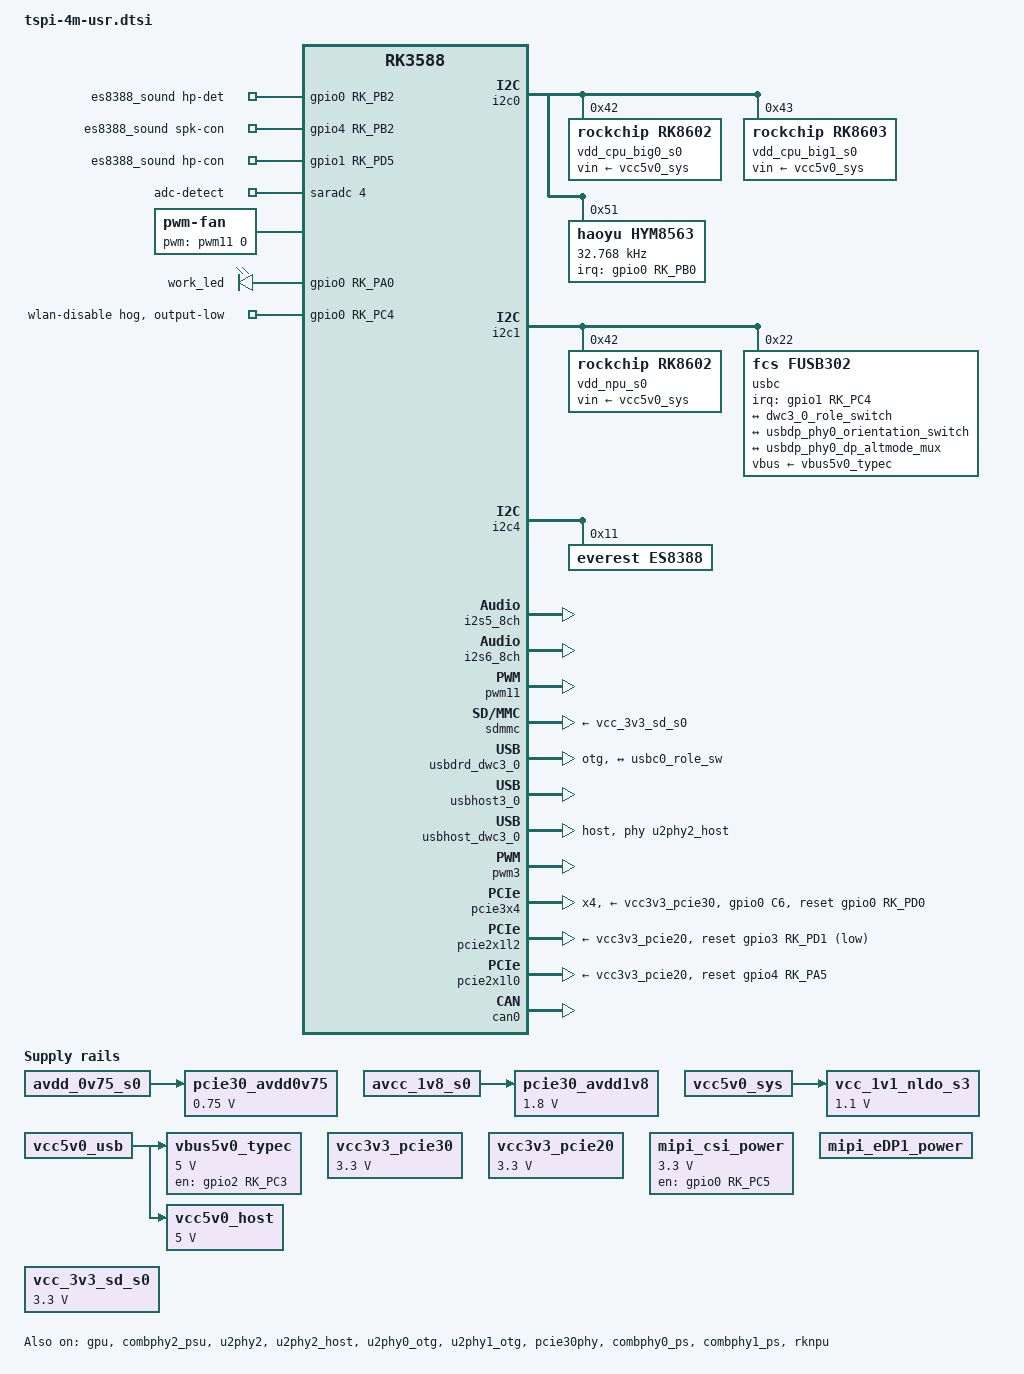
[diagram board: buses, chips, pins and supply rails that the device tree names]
// SPDX-License-Identifier: (GPL-2.0+ OR MIT)
/*
 * Copyright (c) 2022 Rockchip Electronics Co., Ltd.
 *
 */


#include "dt-bindings/usb/pd.h"
#include "rk3588.dtsi"
#include "rk3588-evb.dtsi"
#include "rk3588-rk806-single.dtsi"

&rk806single {
	pmic-reset-func = <1>;
};

// 0: Enable audio output control.
// 1: Enable CAN.
// Select one. Audio control is the default.
#define Audio_AND_CAN_Control  0 

// 0: Enable mSATA.
// 1: Enable PCIe devices, such as RTL8852BE or EC20.
// Select one. PCIe is the default.
#define Smata_AND_PCIE 1

/ {

	es8388_sound: es8388-sound {
		status = "okay";
		compatible = "rockchip,multicodecs-card";
		rockchip,card-name = "rockchip-es8388";
		hp-det-gpio = <&gpio0 RK_PB2 GPIO_ACTIVE_HIGH>;    // Headphone detection GPIO
		io-channels = <&saradc 4>;
		io-channel-names = "adc-detect";
		keyup-threshold-microvolt = <1800000>;
		poll-interval = <100>;

	#if !Audio_AND_CAN_Control
		spk-con-gpio = <&gpio4 RK_PB2 GPIO_ACTIVE_HIGH>;   // External amplifier control; shared with CAN
	#endif

		hp-con-gpio = <&gpio1 RK_PD5 GPIO_ACTIVE_HIGH>;       // EARPHONE_CTL: headphone control GPIO
		rockchip,pre-power-on-delay-ms = <30>;
		rockchip,post-power-down-delay-ms = <40>;
		rockchip,format = "i2s";
		rockchip,mclk-fs = <256>;
		rockchip,cpu = <&i2s0_8ch>;
		rockchip,codec = <&es8388>;
		rockchip,audio-routing =
			"Headphone", "LOUT1",
			"Headphone", "ROUT1",
			"Speaker", "LOUT2",
			"Speaker", "ROUT2",
			"Headphone", "Headphone Power",
			"Headphone", "Headphone Power",
			"Speaker", "Speaker Power",
			"Speaker", "Speaker Power",
			"Main Mic", "Mic Bias",
			"Headset Mic", "Mic Bias",
			"LINPUT1", "Main Mic",
			"LINPUT2", "Main Mic",
			"RINPUT1", "Headset Mic",
			"RINPUT2", "Headset Mic";
		pinctrl-names = "default";
		pinctrl-0 = <&hp_det>;
		play-pause-key {
			label = "playpause";
			linux,code = <KEY_PLAYPAUSE>;
			press-threshold-microvolt = <2000>;
		};
	};

	fan: pwm-fan {
		compatible = "pwm-fan";
		#cooling-cells = <2>;
		pwms = <&pwm11 0 50000 0>;
		cooling-levels = <
			0 50 100 120 150 170 180 200
			205 210 215 220 225 230 235 240
			245 250 251 252 253 254 255
		>;

		rockchip,temp-trips = <
			// 32000	1
			// 34000	2
			// 36000	3
			38000	8
			48000	9
			50000	10
			52000	11
			54000	12
			56000	13
			58000	14
			60000	15
			62000	16
			64000	17
			66000	18
			68000	19
			70000	20
		>;
	};


	leds: leds {
		compatible = "gpio-leds";
		work_led: work {
			gpios = <&gpio0 RK_PA0 GPIO_ACTIVE_HIGH>;
			linux,default-trigger = "heartbeat";
		};
	};


	pcie30_avdd0v75: pcie30-avdd0v75 {
		compatible = "regulator-fixed";
		regulator-name = "pcie30_avdd0v75";
		regulator-boot-on;
		regulator-always-on;
		regulator-min-microvolt = <750000>;
		regulator-max-microvolt = <750000>;
		vin-supply = <&avdd_0v75_s0>;
	};

	pcie30_avdd1v8: pcie30-avdd1v8 {
		compatible = "regulator-fixed";
		regulator-name = "pcie30_avdd1v8";
		regulator-boot-on;
		regulator-always-on;
		regulator-min-microvolt = <1800000>;
		regulator-max-microvolt = <1800000>;
		vin-supply = <&avcc_1v8_s0>;
	};


	vcc_1v1_nldo_s3: vcc-1v1-nldo-s3 {
		compatible = "regulator-fixed";
		regulator-name = "vcc_1v1_nldo_s3";
		regulator-always-on;
		regulator-boot-on;
		regulator-min-microvolt = <1100000>;
		regulator-max-microvolt = <1100000>;
		vin-supply = <&vcc5v0_sys>;
	};


	vbus5v0_typec: vbus5v0-typec {
		compatible = "regulator-fixed";
		regulator-name = "vbus5v0_typec";
		regulator-min-microvolt = <5000000>;
		regulator-max-microvolt = <5000000>;
		enable-active-high;
		gpio = <&gpio2 RK_PC3 GPIO_ACTIVE_HIGH>;
		vin-supply = <&vcc5v0_usb>;
		pinctrl-names = "default";
		pinctrl-0 = <&typec5v_pwren>;
	};


	vcc3v3_pcie30: vcc3v3-pcie30 {
		compatible = "regulator-fixed";
		regulator-name = "vcc3v3_pcie30";
		regulator-min-microvolt = <3300000>;
		regulator-max-microvolt = <3300000>;
		enable-active-high;
		startup-delay-us = <5000>;
	};

	vcc3v3_pcie20: vcc3v3-pcie20 {
		compatible = "regulator-fixed";
		regulator-name = "vcc3v3_pcie20";
		regulator-min-microvolt = <3300000>;
		regulator-max-microvolt = <3300000>;
		enable-active-high;
		startup-delay-us = <5000>;
	};

	vcc5v0_host: vcc5v0-host {
		compatible = "regulator-fixed";
		regulator-name = "vcc5v0_host";
		regulator-boot-on;
		regulator-always-on;
		regulator-min-microvolt = <5000000>;
		regulator-max-microvolt = <5000000>;
		enable-active-high;
		vin-supply = <&vcc5v0_usb>;
		pinctrl-names = "default";
	};

	mipi_csi_power: mipi-csi-power{
		compatible = "regulator-fixed";
		pinctrl-names = "default";
		regulator-name = "mipi_csi_power";
		regulator-min-microvolt = <3300000>;
		regulator-max-microvolt = <3300000>;
		regulator-always-on;
		regulator-boot-on;
		enable-active-high;
		pinctrl-0 = <&mipi_csi_pwr_en>;
		gpio = <&gpio0 RK_PC5 GPIO_ACTIVE_HIGH>;

	};

	mipi_eDP1_power: mipi-edp-power-regulator {
		compatible = "regulator-fixed";
		regulator-name = "mipi_dp1_power";
		// gpio = <&gpio1 RK_PA4 GPIO_ACTIVE_HIGH>;
		enable-active-high;
		regulator-boot-on;
		regulator-always-on;
	};


	vcc_3v3_sd_s0: vcc-3v3-sd-s0-regulator {
		compatible = "regulator-fixed";	
		pinctrl-names = "default";
		regulator-name = "vcc_3v3_sd_s0";
		regulator-min-microvolt = <3300000>;
		regulator-max-microvolt = <3300000>;
		enable-active-high;
	};
	
	rk_headset: rk-headset {          // Headset
		status = "disabled";
		compatible = "rockchip_headset";
		headset_gpio = <&gpio1 RK_PD5 GPIO_ACTIVE_LOW>;
		pinctrl-names = "default";
		pinctrl-0 = <&hp_det>;
		io-channels = <&saradc 4>;
	};
	
	wireless_bluetooth: wireless-bluetooth {
		compatible = "bluetooth-platdata";
		status = "disabled";
	};

	wireless_wlan: wireless-wlan {
		compatible = "wlan-platdata";
		wifi_chip_type = "rtl8852be";
		status = "okay";
		pinctrl-names = "default";

	};

};

&gpu {
	mali-supply = <&vdd_gpu_s0>;
	mem-supply = <&vdd_gpu_mem_s0>;
	upthreshold = <60>;
	downdifferential = <30>;
	status = "okay";
};



&i2c0 {
	status = "okay";
	pinctrl-names = "default";
	pinctrl-0 = <&i2c0m2_xfer>;

	vdd_cpu_big0_s0: vdd_cpu_big0_mem_s0: rk8602@42 {
		compatible = "rockchip,rk8602";
		reg = <0x42>;
		vin-supply = <&vcc5v0_sys>;
		regulator-compatible = "rk860x-reg";
		regulator-name = "vdd_cpu_big0_s0";
		regulator-min-microvolt = <550000>;
		regulator-max-microvolt = <1050000>;
		regulator-ramp-delay = <2300>;
		rockchip,suspend-voltage-selector = <1>;
		regulator-boot-on;
		regulator-always-on;
		regulator-state-mem {
			regulator-off-in-suspend;
		};
	};

	vdd_cpu_big1_s0: vdd_cpu_big1_mem_s0: rk8603@43 {
		compatible = "rockchip,rk8603";
		reg = <0x43>;
		vin-supply = <&vcc5v0_sys>;
		regulator-compatible = "rk860x-reg";
		regulator-name = "vdd_cpu_big1_s0";
		regulator-min-microvolt = <550000>;
		regulator-max-microvolt = <1050000>;
		regulator-ramp-delay = <2300>;
		rockchip,suspend-voltage-selector = <1>;
		regulator-boot-on;
		regulator-always-on;
		regulator-state-mem {
			regulator-off-in-suspend;
		};
	};

	hym8563: hym8563@51 {
		compatible = "haoyu,hym8563";
		reg = <0x51>;
		#clock-cells = <0>;
		clock-frequency = <32768>;
		clock-output-names = "hym8563";
		pinctrl-names = "default";
		pinctrl-0 = <&hym8563_int>;
		interrupt-parent = <&gpio0>;
		interrupts = <RK_PB0 IRQ_TYPE_LEVEL_LOW>;
		wakeup-source;
	};
};

&i2c1 {
	status = "okay";
	pinctrl-names = "default";
	pinctrl-0 = <&i2c1m2_xfer>;

	vdd_npu_s0: vdd_npu_mem_s0: rk8602@42 {
		compatible = "rockchip,rk8602";
		reg = <0x42>;
		vin-supply = <&vcc5v0_sys>;
		regulator-compatible = "rk860x-reg";
		regulator-name = "vdd_npu_s0";
		regulator-min-microvolt = <550000>;
		regulator-max-microvolt = <950000>;
		regulator-ramp-delay = <2300>;
		rockchip,suspend-voltage-selector = <1>;
		regulator-boot-on;
		regulator-always-on;
		regulator-state-mem {
			regulator-off-in-suspend;
		};
	};

	usbc: fusb302@22 {
		compatible = "fcs,fusb302";
		reg = <0x22>;
		interrupt-parent = <&gpio1>;
		interrupts = <RK_PC4 IRQ_TYPE_LEVEL_LOW>;
		pinctrl-names = "default";
		pinctrl-0 = <&usbc0_int>;
		vbus-supply = <&vbus5v0_typec>;
		status = "okay";

		ports {
			#address-cells = <1>;
			#size-cells = <0>;

			port@0 {
				reg = <0>;
				usbc0_role_sw: endpoint {
					remote-endpoint = <&dwc3_0_role_switch>;
				};
			};
		};

		connector {
			compatible = "usb-c-connector";
			label = "USB-C";
			data-role = "dual";
			power-role = "dual";
			try-power-role = "sink";
			op-sink-microwatt = <1000000>;
			sink-pdos =
				<PDO_FIXED(5000, 1000, PDO_FIXED_USB_COMM)>;
			source-pdos =
				<PDO_FIXED(5000, 3000, PDO_FIXED_USB_COMM)>;

			altmodes {
				#address-cells = <1>;
				#size-cells = <0>;

				altmode@0 {
					reg = <0>;
					svid = <0xff01>;
					vdo = <0xffffffff>;
				};
			};

			ports {
				#address-cells = <1>;
				#size-cells = <0>;

				port@0 {
					reg = <0>;
					usbc0_orien_sw: endpoint {
						remote-endpoint = <&usbdp_phy0_orientation_switch>;
					};
				};

				port@1 {
					reg = <1>;
					dp_altmode_mux: endpoint {
						remote-endpoint = <&usbdp_phy0_dp_altmode_mux>;
					};
				};
			};
		};
	};
};




// Share I2C4 with the MIPI CSI3 camera.
&i2c4 {
	status = "okay";
	pinctrl-0 = <&i2c4m3_xfer>;
	es8388: es8388@11 {
		status = "okay";
		#sound-dai-cells = <0>;
		compatible = "everest,es8388", "everest,es8323";
		reg = <0x11>;
		clocks = <&mclkout_i2s0>;
		clock-names = "mclk";
		assigned-clocks = <&mclkout_i2s0>;
		assigned-clock-rates = <12288000>;
		pinctrl-names = "default";
		pinctrl-0 = <&i2s0_mclk>;
	};
};

&i2s5_8ch {
	status = "okay";
};

&i2s6_8ch {
	status = "okay";
};



&pinctrl {

    mipi-csi {
		mipi_csi_pwr_en: mipi-csi-pwr-en {
			rockchip,pins = <0 RK_PC5 RK_FUNC_GPIO &pcfg_pull_none>;
		};
	};

	headphone {
		hp_det: hp-det {
			rockchip,pins =
				<0 RK_PB2 RK_FUNC_GPIO &pcfg_pull_none>,  // Headphone detection
			#if !Audio_AND_CAN_Control
				<4 RK_PB2 RK_FUNC_GPIO &pcfg_pull_down>,   // External amplifier control; shared with CAN
			#endif
				<1 RK_PD5 RK_FUNC_GPIO &pcfg_pull_down>;
		};
	};

	//RTC  BM8563
	hym8563 {			
		hym8563_int: hym8563-int {
			rockchip,pins = <0 RK_PB0 RK_FUNC_GPIO &pcfg_pull_up>;
		};
	};


	usb-typec {
		usbc0_int: usbc0-int {
			rockchip,pins = <1 RK_PC4 RK_FUNC_GPIO &pcfg_pull_up>;
		};

		typec5v_pwren: typec5v-pwren {
			rockchip,pins = <2 RK_PC3 RK_FUNC_GPIO &pcfg_pull_none>;
		};
	};


	pcie {
		pcie30x4_clkreqn_m1: pcie30x4-clkreqn-m1 {
			rockchip,pins = <0 RK_PC6 RK_FUNC_GPIO &pcfg_output_low>;
		};
	};


};




// Fan
&pwm11 {
	pinctrl-0 = <&pwm11m3_pins>;
	status = "okay";
};



&sdmmc {
	status = "okay";
	max-frequency = <200000000>;
	supports-emmc;
	vmmc-supply = <&vcc_3v3_sd_s0>;
};




&usbdp_phy0 {
	orientation-switch;
	svid = <0xff01>;
	sbu1-dc-gpios = <&gpio4 RK_PA0 GPIO_ACTIVE_HIGH>;
	sbu2-dc-gpios = <&gpio4 RK_PA1 GPIO_ACTIVE_HIGH>;

	port {
		#address-cells = <1>;
		#size-cells = <0>;
		usbdp_phy0_orientation_switch: endpoint@0 {
			reg = <0>;
			remote-endpoint = <&usbc0_orien_sw>;
		};

		usbdp_phy0_dp_altmode_mux: endpoint@1 {
			reg = <1>;
			remote-endpoint = <&dp_altmode_mux>;
		};
	};
};


&usbdrd_dwc3_0 {
	dr_mode = "otg";
	usb-role-switch;
	port {
		#address-cells = <1>;
		#size-cells = <0>;
		dwc3_0_role_switch: endpoint@0 {
			reg = <0>;
			remote-endpoint = <&usbc0_role_sw>;
		};
	};
};

&usbhost3_0 {
	status = "okay";
};

&usbhost_dwc3_0 {
	status = "okay";
	dr_mode = "host";
	 phys = <&u2phy2_host>, <&combphy2_psu PHY_TYPE_USB3>;
    phy-names = "usb2-phy", "usb3-phy";
};


/* USB3.1/SATA/PCIe20x1_1 Combo PHY */
//PCIe2.0 / SATA3.0 / USB3.1 Host Combo PHY2
&combphy2_psu {
	status = "okay";
	rockchip,type = <PHY_TYPE_USB3>;
};

/* USB2 PHY for USB3 Host port */
&u2phy2 {
    status = "okay";
};

&u2phy2_host {
	status = "okay";
	phy-supply = <&vcc5v0_host>;
};



&u2phy0_otg {
	status = "okay";
	rockchip,typec-vbus-det;
};

&u2phy1_otg {
	status = "okay";
	phy-supply = <&vcc5v0_host>;
};



&u2phy3_host {
	phy-supply = <&vcc5v0_host>;
};



/* vp0 & vp1 splice for 8K output */
&vp0 {
	rockchip,plane-mask = <(1 << ROCKCHIP_VOP2_CLUSTER0 | 1 << ROCKCHIP_VOP2_ESMART0)>;
	rockchip,primary-plane = <ROCKCHIP_VOP2_ESMART0>;
	// cursor-win-id = <ROCKCHIP_VOP2_CLUSTER0>;
};

&vp1 {
	rockchip,plane-mask = <(1 << ROCKCHIP_VOP2_CLUSTER1 | 1 << ROCKCHIP_VOP2_ESMART1)>;
	rockchip,primary-plane = <ROCKCHIP_VOP2_ESMART1>;
	cursor-win-id = <ROCKCHIP_VOP2_CLUSTER1>;
};

&vp2 {
	rockchip,plane-mask = <(1 << ROCKCHIP_VOP2_CLUSTER2 | 1 << ROCKCHIP_VOP2_ESMART2)>;
	rockchip,primary-plane = <ROCKCHIP_VOP2_ESMART2>;
	cursor-win-id = <ROCKCHIP_VOP2_CLUSTER2>;
};

&vp3 {
	rockchip,plane-mask = <(1 << ROCKCHIP_VOP2_CLUSTER3 | 1 << ROCKCHIP_VOP2_ESMART3)>;
	rockchip,primary-plane = <ROCKCHIP_VOP2_ESMART3>;
	cursor-win-id = <ROCKCHIP_VOP2_CLUSTER3>;
};

&pwm3{
	compatible = "rockchip,remotectl-pwm";
	pinctrl-names = "default";
	pinctrl-0 = <&pwm3m1_pins>;
	remote_pwm_id = <3>;
	handle_cpu_id = <1>;
	remote_support_psci = <0>;
	status = "okay";

	ir_key1 {
	rockchip,usercode = <0xff00>;
	rockchip,key_table =
        <0xba   KEY_POWER>,   // Power key
        <0xb8   KEY_MENU>,     // Menu key
        <0xbc   KEY_BACK>,      // Back key
        <0xbb   KEY_HOME>,      // Home key
        <0xea   KEY_PLAY>,      // Play key
        <0xbf   KEY_VOLUMEUP>,  // Volume up key
        <0xe6   KEY_VOLUMEDOWN>,   // Volume down key
        <0xf6   KEY_FASTFORWARD>,  // Fast forward key
        <0xf2   KEY_BACKSPACE>,    // Backspace key
        <0xf3   KEY_1>,            // Key 1
        <0xe7   KEY_2>,
        <0xa1   KEY_3>,
        <0xf7   KEY_4>,
        <0xe3   KEY_5>,
        <0xa5   KEY_6>,
        <0xbd   KEY_7>,
        <0xad   KEY_8>,
        <0xb5   KEY_9>,
        <0xe9   KEY_0>;            // Key 0
	};

};


&pcie30phy {
	rockchip,pcie30-phymode = <PHY_MODE_PCIE_AGGREGATION>;
	status = "okay";
};

&pcie3x4 {
	reset-gpios = <&gpio0 RK_PD0 GPIO_ACTIVE_HIGH>;
	vpcie3v3-supply = <&vcc3v3_pcie30>;
	pinctrl-names = "default";
	pinctrl-0 = <&pcie30x4_clkreqn_m1>;
	status = "okay";
	num-lanes = <4>;          // Increase from two lanes to four.
    max-link-width = <4>;     // Force four lanes.
    max-link-speed = <3>;     // Limit the link speed to PCIe 3.0.
};

//MINI Smata 
&sata0 {
#if !Smata_AND_PCIE
    status = "okay";    	// Enable SATA
#else
	status = "disabled";    // Disable SATA
#endif
};

&sata1 {
    status = "disabled";  // Disable SATA
};

&sata2 {
    status = "disabled";  // Disable SATA
};

//MINI PCIE - M.2 SSD

&pcie2x1l2 {
	reset-gpios = <&gpio3 RK_PD1 GPIO_ACTIVE_LOW>;
	disable-gpios = <&gpio3 RK_PC1 GPIO_ACTIVE_HIGH>;
	vpcie3v3-supply = <&vcc3v3_pcie20>;
#if Smata_AND_PCIE
    status = "okay";    
#else
	status = "disabled";   
#endif
};



/* SATA30/PCIe20x1_2 Combo PHY */
  //PCIe2.0 / SATA3.0 Combo PHY0
&combphy0_ps {
	status = "okay";
};

//PCIe2.0 / SATA3.0 Combo PHY1
&combphy1_ps {
	status = "okay";
};


&pcie2x1l0 {
	reset-gpios = <&gpio4 RK_PA5 GPIO_ACTIVE_HIGH>;
	disable-gpios = <&gpio0 RK_PC4 GPIO_ACTIVE_HIGH>;
	vpcie3v3-supply = <&vcc3v3_pcie20>;
	status = "okay";
};

&gpio0 {
	wlan-disable-hog {
		gpio-hog;
		gpios = <RK_PC4 GPIO_ACTIVE_HIGH>;
		output-low;
		line-name = "wlan-disable";
	};
};


&can0 {
	pinctrl-names = "default";
	pinctrl-0 = <&can0m0_pins>;
	status = "okay";
};

#if Audio_AND_CAN_Control
	
&can1 {
	pinctrl-names = "default";
	pinctrl-0 = <&can1m1_pins>;
	status = "okay";
};

#endif



&rknpu {
	rknpu-supply = <&vdd_npu_s0>;
	mem-supply = <&vdd_npu_mem_s0>;
	status = "okay";
};
